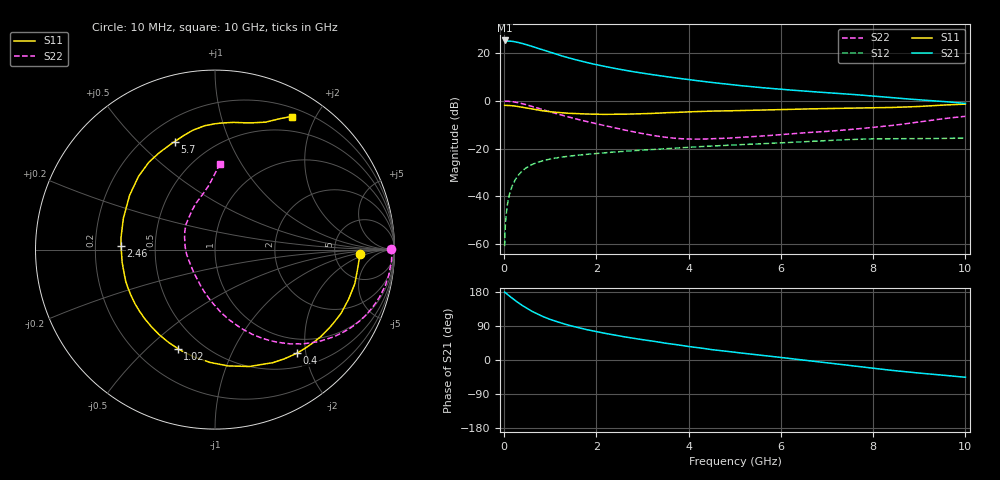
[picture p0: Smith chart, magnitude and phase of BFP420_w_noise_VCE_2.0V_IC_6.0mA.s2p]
! Infineon Technologies  Discrete & RF Semiconductors
! BFP420
! VCE =  2.0 V,  IC =  6.0 mA
! Common Emitter S-Parameters:  Jan 2016
# GHz  S  MA  R  50
!  f  S11  S21  S12  S22
! GHz  MAG  ANG  MAG  ANG  MAG  ANG  MAG  ANG
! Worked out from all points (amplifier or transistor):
!   233 points, 10 MHz to 10 GHz, reference 50 ohm
!   highest |S21| = 25.3 dB at 10 MHz (marker M1)
!   |S21| within 3 dB of that: start of sweep to 686 MHz
!   unconditionally stable (mu >= 1): 2.8 GHz to end of sweep
!   at 200 MHz: K = 0.08, MSG = 29.7 dB, |S12| = -34.6 dB
!   at 1.74 GHz: K = 0.67, MSG = 19.4 dB, |S12| = -22.5 dB
!   at 10 GHz: K = 1.11, MAG = 5.2 dB, |S12| = -15.6 dB
!   lowest NFmin = 0.70 dB at 900 MHz
!   S11 on the Smith chart (normalised r, x): 10 MHz: 9.36, -1.23; 400 MHz: 0.73, -1.84; 1.02 GHz: 0.37, -0.63; 2.46 GHz: 0.31, +0.02; 5.7 GHz: 0.31, +0.65; 10 GHz: 0.31, +1.69
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0.01  0.81 -1.6  18.48 179.2  0.0009 80.3  0.9819 0.3
0.02  0.8064 -2.9  18.04 178.2  0.0019 87.7  0.9858 -1.6
0.07  0.8009 -9.3  18.03 173.1  0.0067 84.5  0.9824 -5.5
0.15  0.7942 -20.2  17.84 165.4  0.0142 80.2  0.9694 -12.0
0.22  0.7812 -29.3  17.39 158.9  0.0204 75.3  0.9479 -17.4
0.3  0.763 -39.6  16.83 151.7  0.0271 70.4  0.9179 -23.3
0.4  0.7363 -51.6  15.92 143.4  0.0344 64.7  0.8713 -30.1
0.5  0.707 -63.1  14.93 135.7  0.0408 59.8  0.8208 -36.3
0.68  0.6556 -81.6  13.14 123.7  0.0497 52.3  0.7289 -45.8
0.82  0.6238 -94.4  11.84 115.8  0.055 47.8  0.6631 -52.2
1.02  0.5887 -110.6  10.26 106.2  0.061 42.9  0.5805 -59.9
1.3  0.5571 -129.4  8.483 95.1  0.0674 38.0  0.4865 -69.0
1.68  0.5344 -150.1  6.776 83.3  0.0741 33.6  0.3917 -79.4
2  0.5244 -164.2  5.737 74.9  0.079 30.9  0.3318 -87.1
2.46  0.5234 177.9  4.678 64.5  0.0856 27.8  0.264 -99.1
3.4  0.5568 150.1  3.338 46.4  0.0982 22.4  0.1778 -129.5
4.1  0.5932 134.3  2.716 34.1  0.1079 18.4  0.1578 -157.9
5.1  0.6245 118.7  2.101 19.0  0.1206 12.5  0.1702 169.9
5.7  0.6428 110.5  1.853 10.8  0.1279 9.1  0.1865 155.0
6.8  0.6851 97.1  1.532 -4.5  0.144 1.9  0.2229 133.0
8.4  0.7278 76.0  1.17 -27.3  0.1609 -13.0  0.3047 104.9
10  0.8553 60.1  0.885 -45.6  0.1656 -23.3  0.4753 86.8
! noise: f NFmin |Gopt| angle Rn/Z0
0.9  0.7  0.16  29  0.14
1.8  1.08  0.06  113  0.12
2.4  1.17  0.11  132  0.13
3  1.26  0.17  176  0.11
4  1.43  0.31  -139  0.13
5  1.82  0.38  -115  0.24
6  2.3  0.43  -99  0.37
